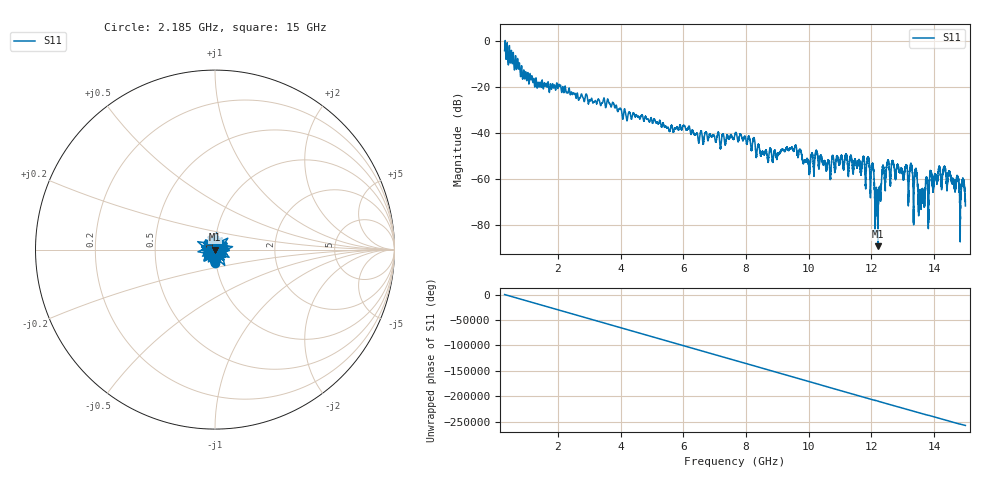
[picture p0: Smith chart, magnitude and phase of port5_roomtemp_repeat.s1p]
# GHZ S RI R 50.0
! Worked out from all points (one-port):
!   12801 points, 300 MHz to 15 GHz, reference 50 ohm
!   lowest |S11| = -89.3 dB at 12.21 GHz (marker M1), VSWR 1.00, Z = 50 + j0.00119 ohm
!   |S11| at or under -10 dB: 663.5 MHz to 700.7 MHz (37.24 MHz wide, 5.46 % of centre); 728.2 MHz to 764.9 MHz (36.75 MHz wide, 4.92 % of centre); 777.5 MHz to end of sweep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
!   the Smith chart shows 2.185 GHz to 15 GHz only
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0.3  0.6129 -0.1164
0.3803906  0.93 0.0388
1.323258  0.0891 -0.0668
2.1375  0.0696 0.0473
3.975  0.031 0.0142
5.8125  0.0134 -6.25e-05
6.457922  -0.00862 0.00268
7.65  0.00792 0.00493
8.656031  0.00375 -0.00118
9.4875  0.00138 0.0043
9.977883  3.15e-05 0.00244
10.25466  -0.00396 -0.000827
10.63479  0.00107 -0.0023
11.325  0.00286 0.000848
11.89462  -9.32e-05 0.00303
12.04048  0.00167 0.00121
12.16336  0.000529 5.92e-06
12.21274  3.21e-05 1.19e-05
12.34366  0.000249 -0.00136
12.51938  -0.000476 0.00245
13.1625  -2.91e-05 0.00101
13.42894  0.000752 0.00132
13.55756  0.000134 -0.000405
13.91702  0.000697 -0.00107
14.32587  0.00163 -0.000777
14.83118  4.53e-05 -2.19e-05
14.92535  0.000816 -0.000521
15  -0.000188 -0.000176
